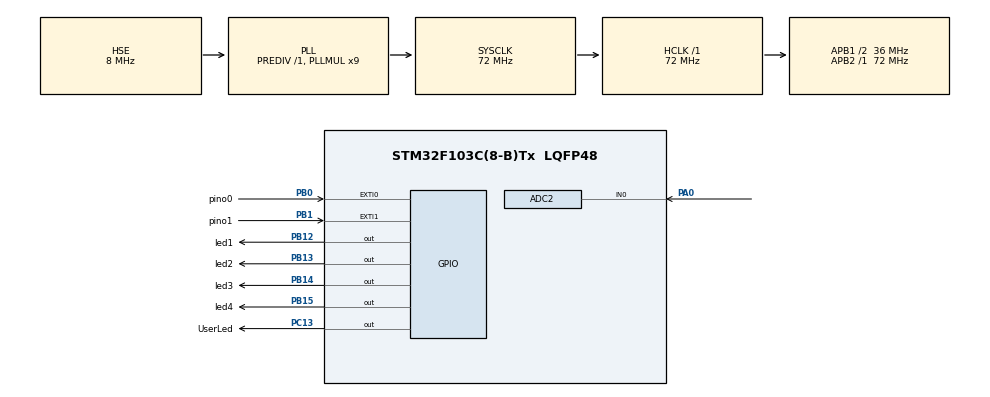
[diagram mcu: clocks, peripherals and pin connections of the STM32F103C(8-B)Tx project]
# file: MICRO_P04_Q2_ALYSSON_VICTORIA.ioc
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ADC2.Channel-1\#ChannelRegularConversion=ADC_CHANNEL_0
ADC2.NbrOfConversionFlag=1
ADC2.Rank-1\#ChannelRegularConversion=1
ADC2.SamplingTime-1\#ChannelRegularConversion=ADC_SAMPLETIME_1CYCLE_5
Mcu.Family=STM32F1
Mcu.Name=STM32F103C(8-B)Tx
Mcu.Package=LQFP48
NVIC.ADC1_2_IRQn=true\:0\:0\:false\:false\:true\:true\:true\:true
NVIC.EXTI0_IRQn=true\:0\:0\:true\:false\:true\:true\:true\:true
NVIC.EXTI1_IRQn=true\:0\:0\:true\:false\:true\:true\:true\:true
NVIC.PriorityGroup=NVIC_PRIORITYGROUP_4
PA0-WKUP.Signal=ADCx_IN0
PA13.Mode=Serial_Wire
PA13.Signal=SYS_JTMS-SWDIO
PA14.Mode=Serial_Wire
PA14.Signal=SYS_JTCK-SWCLK
PB0.GPIO_Label=pino0
PB0.GPIO_ModeDefaultEXTI=GPIO_MODE_IT_FALLING
PB0.GPIO_PuPd=GPIO_PULLUP
PB0.Signal=GPXTI0
PB1.GPIO_Label=pino1
PB1.GPIO_ModeDefaultEXTI=GPIO_MODE_IT_FALLING
PB1.GPIO_PuPd=GPIO_PULLUP
PB1.Signal=GPXTI1
PB12.GPIO_Label=led1
PB12.GPIO_Speed=GPIO_SPEED_FREQ_LOW
PB12.PinState=GPIO_PIN_SET
PB12.Signal=GPIO_Output
PB13.GPIO_Label=led2
PB13.GPIO_Speed=GPIO_SPEED_FREQ_LOW
PB13.PinState=GPIO_PIN_SET
PB13.Signal=GPIO_Output
PB14.GPIO_Label=led3
PB14.GPIO_Speed=GPIO_SPEED_FREQ_LOW
PB14.PinState=GPIO_PIN_SET
PB14.Signal=GPIO_Output
PB15.GPIO_Label=led4
PB15.GPIO_Speed=GPIO_SPEED_FREQ_LOW
PB15.PinState=GPIO_PIN_SET
PB15.Signal=GPIO_Output
PC13-TAMPER-RTC.GPIO_Label=UserLed
PC13-TAMPER-RTC.PinState=GPIO_PIN_SET
PC13-TAMPER-RTC.Signal=GPIO_Output
PD0-OSC_IN.Mode=HSE-External-Oscillator
PD0-OSC_IN.Signal=RCC_OSC_IN
PD1-OSC_OUT.Mode=HSE-External-Oscillator
PD1-OSC_OUT.Signal=RCC_OSC_OUT
ProjectManager.HeapSize=0x200
ProjectManager.StackSize=0x400
ProjectManager.TargetToolchain=STM32CubeIDE
RCC.ADCPresc=RCC_ADCPCLK2_DIV6
RCC.AHBFreq_Value=72000000
RCC.APB1CLKDivider=RCC_HCLK_DIV2
RCC.APB1Freq_Value=36000000
RCC.APB1TimFreq_Value=72000000
RCC.APB2Freq_Value=72000000
RCC.APB2TimFreq_Value=72000000
RCC.HCLKFreq_Value=72000000
RCC.PLLMUL=RCC_PLL_MUL9
RCC.PLLSourceVirtual=RCC_PLLSOURCE_HSE
RCC.SYSCLKFreq_VALUE=72000000
RCC.SYSCLKSource=RCC_SYSCLKSOURCE_PLLCLK
RCC.USBFreq_Value=72000000
SH.ADCx_IN0.0=ADC2_IN0,IN0
board=custom

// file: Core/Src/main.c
/* USER CODE BEGIN Header */
/**
  ******************************************************************************
  * @file           : main.c
  * @brief          : Questão 2 - Habilitando o canal de captura IN0 do conversor AD
  * @author         : Alysson Lucas Pontes Cavalcante da Silva e Maria Victória Martins Neves
  * @date           : 06/05/2026
  * @details        : aprendendo a gerar uma interrupção quando a conversão for
  * terminada de forma a não ter que ficar testando se a conversão foi concluída.
  ******************************************************************************
  */
/* USER CODE END Header */
#include "main.h"

/* USER CODE BEGIN Includes */
#include "condition_flag.h"
/* USER CODE END Includes */

/* USER CODE BEGIN PD */
#define ADC_MAX_VAL 4095 // Resolução de 12 bits do ADC do STM32
#define VCC_80      ((ADC_MAX_VAL * 80) / 100) // ADC 80%
#define VCC_60      ((ADC_MAX_VAL * 60) / 100) // ADC 60%
#define VCC_40      ((ADC_MAX_VAL * 40) / 100) // ADC 40%
#define VCC_20      ((ADC_MAX_VAL * 20) / 100) // ADC 20%
/* USER CODE END PD */

ADC_HandleTypeDef hadc2;

void SystemClock_Config(void);
static void MX_GPIO_Init(void);
static void MX_ADC2_Init(void);
/* USER CODE BEGIN PFP */
void Funcao_Start_ADC(uint32_t tempo_atual,uint32_t *conv_adc);
void Funcao_CheckFlags(uint32_t tempo_atual,uint32_t valor_adc);
void UserLed(uint32_t tempo_atual, uint32_t *time_UserLed);
void LedComportamento(uint32_t valor_adc);
/* USER CODE END PFP */

int main(void)
{

  /* USER CODE BEGIN 1 */

  uint32_t tempo_atual = HAL_GetTick(); // Atualiza o tempo atual em milissegundos
  uint32_t time_UserLed= tempo_atual,conv_adc = tempo_atual; //Controlar o tempo do Userled.
  uint32_t valor_adc=0; // Variável que armázena o valor ADC.

  /* USER CODE END 1 */

  /* MCU Configuration--------------------------------------------------------*/

  /* Reset of all peripherals, Initializes the Flash interface and the Systick. */
  HAL_Init();

  /* Configure the system clock */
  SystemClock_Config();

  /* Initialize all configured peripherals */
  MX_GPIO_Init();
  MX_ADC2_Init();

  /* Infinite loop */
  /* USER CODE BEGIN WHILE */
  while (1)
  {
      // Atualiza o tempo atual
      tempo_atual = HAL_GetTick();
      UserLed(tempo_atual, &time_UserLed); //Função que faz o userled piscar 1950ms apagado e 50ms aceso
      Funcao_Start_ADC(tempo_atual, &conv_adc); //Função que verifica se Passou 200 ms para inicializar interrupção da conversão ADC
      Funcao_CheckFlags(tempo_atual, valor_adc); //Checkagem das flags e tratamento

  /* USER CODE END WHILE */

  }
}

void SystemClock_Config(void)
{
  RCC_OscInitTypeDef RCC_OscInitStruct = {0};
  RCC_ClkInitTypeDef RCC_ClkInitStruct = {0};
  RCC_PeriphCLKInitTypeDef PeriphClkInit = {0};

  /** Initializes the RCC Oscillators according to the specified parameters
  * in the RCC_OscInitTypeDef structure.
  */
  RCC_OscInitStruct.OscillatorType = RCC_OSCILLATORTYPE_HSE;
  RCC_OscInitStruct.HSEState = RCC_HSE_ON;
  RCC_OscInitStruct.HSEPredivValue = RCC_HSE_PREDIV_DIV1;
  RCC_OscInitStruct.HSIState = RCC_HSI_ON;
  RCC_OscInitStruct.PLL.PLLState = RCC_PLL_ON;
  RCC_OscInitStruct.PLL.PLLSource = RCC_PLLSOURCE_HSE;
  RCC_OscInitStruct.PLL.PLLMUL = RCC_PLL_MUL9;
  if (HAL_RCC_OscConfig(&RCC_OscInitStruct) != HAL_OK)
  {
    Error_Handler();
  }

  /** Initializes the CPU, AHB and APB buses clocks
  */
  RCC_ClkInitStruct.ClockType = RCC_CLOCKTYPE_HCLK|RCC_CLOCKTYPE_SYSCLK
                              |RCC_CLOCKTYPE_PCLK1|RCC_CLOCKTYPE_PCLK2;
  RCC_ClkInitStruct.SYSCLKSource = RCC_SYSCLKSOURCE_PLLCLK;
  RCC_ClkInitStruct.AHBCLKDivider = RCC_SYSCLK_DIV1;
  RCC_ClkInitStruct.APB1CLKDivider = RCC_HCLK_DIV2;
  RCC_ClkInitStruct.APB2CLKDivider = RCC_HCLK_DIV1;

  if (HAL_RCC_ClockConfig(&RCC_ClkInitStruct, FLASH_LATENCY_2) != HAL_OK)
  {
    Error_Handler();
  }
  PeriphClkInit.PeriphClockSelection = RCC_PERIPHCLK_ADC;
  PeriphClkInit.AdcClockSelection = RCC_ADCPCLK2_DIV6;
  if (HAL_RCCEx_PeriphCLKConfig(&PeriphClkInit) != HAL_OK)
  {
    Error_Handler();
  }
}

static void MX_ADC2_Init(void)
{

  ADC_ChannelConfTypeDef sConfig = {0};

  /** Common config
  */
  hadc2.Instance = ADC2;
  hadc2.Init.ScanConvMode = ADC_SCAN_DISABLE;
  hadc2.Init.ContinuousConvMode = DISABLE;
  hadc2.Init.DiscontinuousConvMode = DISABLE;
  hadc2.Init.ExternalTrigConv = ADC_SOFTWARE_START;
  hadc2.Init.DataAlign = ADC_DATAALIGN_RIGHT;
  hadc2.Init.NbrOfConversion = 1;
  if (HAL_ADC_Init(&hadc2) != HAL_OK)
  {
    Error_Handler();
  }

  /** Configure Regular Channel
  */
  sConfig.Channel = ADC_CHANNEL_0;
  sConfig.Rank = ADC_REGULAR_RANK_1;
  sConfig.SamplingTime = ADC_SAMPLETIME_1CYCLE_5;
  if (HAL_ADC_ConfigChannel(&hadc2, &sConfig) != HAL_OK)
  {
    Error_Handler();
  }

}

static void MX_GPIO_Init(void)
{
  GPIO_InitTypeDef GPIO_InitStruct = {0};

  /* GPIO Ports Clock Enable */
  __HAL_RCC_GPIOC_CLK_ENABLE();
  __HAL_RCC_GPIOD_CLK_ENABLE();
  __HAL_RCC_GPIOA_CLK_ENABLE();
  __HAL_RCC_GPIOB_CLK_ENABLE();

  /*Configure GPIO pin Output Level */
  HAL_GPIO_WritePin(UserLed_GPIO_Port, UserLed_Pin, GPIO_PIN_SET);

  /*Configure GPIO pin Output Level */
  HAL_GPIO_WritePin(GPIOB, led1_Pin|led2_Pin|led3_Pin|led4_Pin, GPIO_PIN_SET);

  /*Configure GPIO pin : UserLed_Pin */
  GPIO_InitStruct.Pin = UserLed_Pin;
  GPIO_InitStruct.Mode = GPIO_MODE_OUTPUT_PP;
  GPIO_InitStruct.Pull = GPIO_NOPULL;
  GPIO_InitStruct.Speed = GPIO_SPEED_FREQ_LOW;
  HAL_GPIO_Init(UserLed_GPIO_Port, &GPIO_InitStruct);

  /*Configure GPIO pins : pino0_Pin pino1_Pin */
  GPIO_InitStruct.Pin = pino0_Pin|pino1_Pin;
  GPIO_InitStruct.Mode = GPIO_MODE_IT_FALLING;
  GPIO_InitStruct.Pull = GPIO_PULLUP;
  HAL_GPIO_Init(GPIOB, &GPIO_InitStruct);

  /*Configure GPIO pins : led1_Pin led2_Pin led3_Pin led4_Pin */
  GPIO_InitStruct.Pin = led1_Pin|led2_Pin|led3_Pin|led4_Pin;
  GPIO_InitStruct.Mode = GPIO_MODE_OUTPUT_PP;
  GPIO_InitStruct.Pull = GPIO_NOPULL;
  GPIO_InitStruct.Speed = GPIO_SPEED_FREQ_LOW;
  HAL_GPIO_Init(GPIOB, &GPIO_InitStruct);

  /* EXTI interrupt init*/
  HAL_NVIC_SetPriority(EXTI0_IRQn, 0, 0);
  HAL_NVIC_EnableIRQ(EXTI0_IRQn);

  HAL_NVIC_SetPriority(EXTI1_IRQn, 0, 0);
  HAL_NVIC_EnableIRQ(EXTI1_IRQn);

}

/* USER CODE BEGIN 4 */

/**
  * @brief  Verifica se Passou 200 ms para inicializar interrupção da conversão ADC
  * @param  tempo_atual Tempo atual do sistema em milissegundos fornecido pelo SysTick.
  * @retval None
  */
void Funcao_Start_ADC(uint32_t tempo_atual,uint32_t *conv_adc)
{
	if (tempo_atual - *conv_adc >= 200) //A cada 200ms inicializa conversão adc
	{
		HAL_ADC_Start_IT(&hadc2); // // inicialização da interrupção conversão ADC e ativação da interrupção.
		*conv_adc = tempo_atual;
	}
}

/**
  * @brief  Verifica o status das flags
  * @param  tempo_atual Tempo atual do sistema em milissegundos fornecido pelo SysTick.
  * @retval None
  */
void Funcao_CheckFlags(uint32_t tempo_atual,uint32_t valor_adc)
{

//Verifica se há um valor a ser lido no conversor adc
	  if(condition_check_adc() == START) //Confere se a conversão acabou verificando a flag
	  {
		  valor_adc = HAL_ADC_GetValue(&hadc2); // Salva o valor na variável
		  LedComportamento(valor_adc);
		  //Código de tratamento da interrupção
		  Reset_Flag_adc();
		  //Fim do código de tratamento da interrupção
	  }

}

/**
  * @brief  Interrupção gerada pelo ADC2
  * Pisca o UserLed de forma contínua no padrão 50ms aceso e 1950ms apagado.
  * @param  tempo_atual Tempo atual do sistema em milissegundos.
  * @param  time_UserLed Ponteiro para a variável que gerencia a transição de estados do LED.
  * @retval None
  */
void HAL_ADC_ConvCpltCallback(ADC_HandleTypeDef* hadc)
{
  // Verifica se o ADC que terminou a conversão foi realmente o ADC2
  if(hadc->Instance == ADC2)
  {
    // Aciona a FLAG
	Set_Flag_adc(); // Seta a flag avisando que a conversão terminou
  }
}

/**
  * @brief  Máquina de estados não-bloqueante responsável por indicar o funcionamento do sistema (Heartbeat).
  * Pisca o UserLed de forma contínua no padrão 50ms aceso e 1950ms apagado.
  * @param  tempo_atual Tempo atual do sistema em milissegundos.
  * @param  time_UserLed Ponteiro para a variável que gerencia a transição de estados do LED.
  * @retval None
  */
void UserLed(uint32_t tempo_atual, uint32_t *time_UserLed)
{
    if (HAL_GPIO_ReadPin(UserLed_GPIO_Port, UserLed_Pin) == GPIO_PIN_SET) // Se apagado
    {
        if ((tempo_atual - *time_UserLed) >= 1950)
        {
            HAL_GPIO_WritePin(UserLed_GPIO_Port, UserLed_Pin, GPIO_PIN_RESET);
            *time_UserLed = tempo_atual;
        }
    } else // Se aceso
    {
        if ((tempo_atual - *time_UserLed) >= 50)
        {
            HAL_GPIO_WritePin(UserLed_GPIO_Port, UserLed_Pin, GPIO_PIN_SET);
            *time_UserLed = tempo_atual;
        }
    }
}
/**
  * @brief  Controla o acionamento segmentado dos LEDs D1, D2, D3 e D4 baseado no nível do ADC.
  * Atua como um "barra de progresso", ligando os LEDs conforme faixas de tensão (20%, 40%, 60% e 80% do VCC).
  * @param  valor_adc Valor atual lido do buffer do ADC para comparação.
  * @retval None
  */
void LedComportamento(uint32_t valor_adc)
{
	if (valor_adc > VCC_80)
	          {
	              // Se maior que 80% todos os LEDs ligados
	              HAL_GPIO_WritePin(GPIOB, led1_Pin | led2_Pin | led3_Pin | led4_Pin, GPIO_PIN_RESET);
	          }
	          else if (valor_adc > VCC_60)
	          {
	              // Entre 60% e 80% D1, D2 e D3 ligados; D4 desligado
	              HAL_GPIO_WritePin(GPIOB, led1_Pin | led2_Pin | led3_Pin, GPIO_PIN_RESET);
	              HAL_GPIO_WritePin(GPIOB, led4_Pin, GPIO_PIN_SET);
	          }
	          else if (valor_adc > VCC_40)
	          {
	              // Entre 40% e 60% D1 e D2 ligados; D3 e D4 desligados
	              HAL_GPIO_WritePin(GPIOB, led1_Pin | led2_Pin, GPIO_PIN_RESET);
	              HAL_GPIO_WritePin(GPIOB, led3_Pin | led4_Pin, GPIO_PIN_SET);
	          }
	          else if (valor_adc > VCC_20)
	          {
	              // Entre 20% e 40% D1 ligado; D2, D3 e D4 desligados
	              HAL_GPIO_WritePin(GPIOB, led1_Pin, GPIO_PIN_RESET);
	              HAL_GPIO_WritePin(GPIOB, led2_Pin | led3_Pin | led4_Pin, GPIO_PIN_SET);
	          }
	          else {
	              // Menor ou igual a 20% todos os LEDs desligados
	              HAL_GPIO_WritePin(GPIOB, led1_Pin | led2_Pin | led3_Pin | led4_Pin, GPIO_PIN_SET);
	          }
}

/* USER CODE END 4 */

void Error_Handler(void)
{
  __disable_irq();
  while (1)
  {
  }
}
